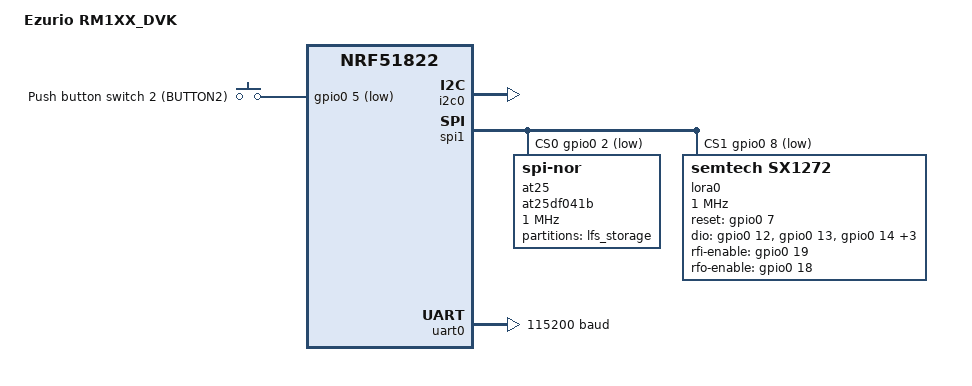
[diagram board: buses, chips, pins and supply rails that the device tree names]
/*
 * Copyright (c) 2021 Laird Connectivity
 * Copyright (c) 2024 Ezurio
 *
 * SPDX-License-Identifier: Apache-2.0
 */

/dts-v1/;
#include <nordic/nrf51822_qfac.dtsi>
#include "rm1xx_dvk-pinctrl.dtsi"
#include <zephyr/dt-bindings/input/input-event-codes.h>

/ {
	model = "Ezurio RM1XX_DVK";
	compatible = "ezurio,rm1xx_dvk";

	chosen {
		zephyr,console = &uart0;
		zephyr,shell-uart = &uart0;
		zephyr,bt-mon-uart = &uart0;
		zephyr,bt-c2h-uart = &uart0;
		zephyr,sram = &sram0;
		zephyr,flash = &flash0;
		zephyr,code-partition = &slot0_partition;
	};

	buttons {
		compatible = "gpio-keys";

		button2: button_2 {
			gpios = <&gpio0 5 (GPIO_PULL_UP | GPIO_ACTIVE_LOW)>;
			label = "Push button switch 2 (BUTTON2)";
			zephyr,code = <INPUT_KEY_0>;
		};
	};

	/* These aliases are provided for compatibility with samples */
	aliases {
		sw0 = &button2;
		lora0 = &lora0;
		watchdog0 = &wdt0;
	};
};

&gpiote {
	status = "okay";
};

&gpio0 {
	status = "okay";
};

&i2c0 {
	compatible = "nordic,nrf-twi";
	status = "okay";
	pinctrl-0 = <&i2c0_default>;
	pinctrl-1 = <&i2c0_sleep>;
	pinctrl-names = "default", "sleep";
};

/* SPI0 cannot be used with I2C0 */
&spi0 {
	/* Disabled by default */
	compatible = "nordic,nrf-spi";
	cs-gpios = <&gpio0 4 GPIO_ACTIVE_LOW>;
	pinctrl-0 = <&spi0_default>;
	pinctrl-1 = <&spi0_sleep>;
	pinctrl-names = "default", "sleep";
};

&spi1 {
	compatible = "nordic,nrf-spi";
	status = "okay";
	cs-gpios = <&gpio0 2 (GPIO_ACTIVE_LOW | GPIO_PULL_UP)>,
		   <&gpio0 8 (GPIO_ACTIVE_LOW | GPIO_PULL_UP)>;

	pinctrl-0 = <&spi1_default>;
	pinctrl-1 = <&spi1_sleep>;
	pinctrl-names = "default", "sleep";

	at25: at25df041b@0 {
		compatible = "jedec,spi-nor";
		reg = <0>;
		spi-max-frequency = <1000000>;
		jedec-id = [1f 44 02];
		size = <0x400000>;
		has-lock = <0xbc>;
		has-dpd;
		t-enter-dpd = <500>;
		t-exit-dpd = <20>;
	};

	lora0: lora@1 {
		compatible = "semtech,sx1272";
		reg = <1>;
		reset-gpios = <&gpio0 7 GPIO_ACTIVE_HIGH>;
		dio-gpios = <&gpio0 12 GPIO_ACTIVE_HIGH>,
			    <&gpio0 13 GPIO_ACTIVE_HIGH>,
			    <&gpio0 14 GPIO_ACTIVE_HIGH>,
			    <&gpio0 15 GPIO_ACTIVE_HIGH>,
			    <&gpio0 16 GPIO_ACTIVE_HIGH>,
			    <&gpio0 1 GPIO_ACTIVE_HIGH>;
		rfi-enable-gpios = <&gpio0 19 GPIO_ACTIVE_HIGH>;
		rfo-enable-gpios = <&gpio0 18 GPIO_ACTIVE_HIGH>;
		spi-max-frequency = <1000000>;
	};
};

&uart0 {
	compatible = "nordic,nrf-uart";
	current-speed = <115200>;
	status = "okay";
	pinctrl-0 = <&uart0_default>;
	pinctrl-1 = <&uart0_sleep>;
	pinctrl-names = "default", "sleep";
};

&flash0 {
	partitions {
		compatible = "fixed-partitions";
		#address-cells = <1>;
		#size-cells = <1>;

		/* 52K */
		boot_partition: partition@0 {
			label = "mcuboot";
			reg = <0x00000000 0x0000C000>;
		};

		/* 188K */
		slot0_partition: partition@c000 {
			label = "image-0";
			reg = <0x0000C000 0x00030000>;
		};

		/*
		 * Storage partition will be used by FCB/LittleFS/NVS
		 * if enabled. 16KB
		 */
		storage_partition: partition@3c000 {
			label = "storage";
			reg = <0x0003C000 0x00004000>;
		};
	};
};

&at25 {
	partitions {
		compatible = "fixed-partitions";
		#address-cells = <1>;
		#size-cells = <1>;

		/* 188K reserved for slot1 */

		/* 68K */
		lfs_partition: partition@30000 {
			label = "lfs_storage";
			reg = <0x00030000 0x00010000>;
		};
	};
};
